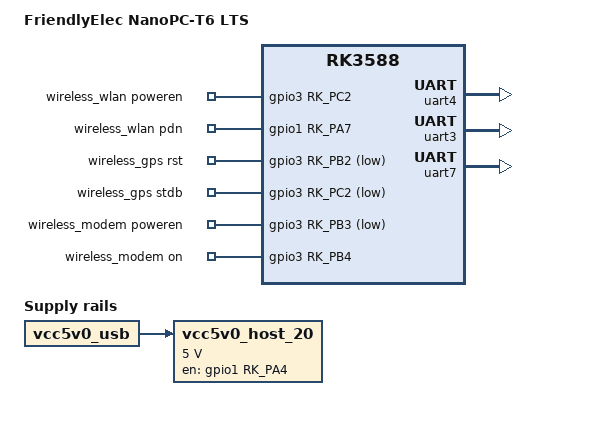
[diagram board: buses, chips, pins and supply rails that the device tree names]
// SPDX-License-Identifier: (GPL-2.0+ OR MIT)
/*
 * Copyright (c) 2023 FriendlyElec Computer Tech. Co., Ltd.
 * (http://www.friendlyelec.com)
 */

/dts-v1/;
#include "rk3588-nanopi6-rev01.dts"

/ {
	model = "FriendlyElec NanoPC-T6 LTS";
	compatible = "friendlyelec,nanopc-t6", "rockchip,rk3588";

	vcc5v0_host_20: vcc5v0-host-20 {
		compatible = "regulator-fixed";
		enable-active-high;
		gpio = <&gpio1 RK_PA4 GPIO_ACTIVE_HIGH>;
		pinctrl-names = "default";
		pinctrl-0 = <&vcc5v0_host20_en>;
		regulator-name = "vcc5v0_host_20";
		regulator-min-microvolt = <5000000>;
		regulator-max-microvolt = <5000000>;
		vin-supply = <&vcc5v0_usb>;
	};

	/* modified for gateway */
	wireless_wlan: wireless-wlan {
		compatible = "wlan-platdata";
		wifi_chip_type = "rtl8812a";

		WIFI,poweren_gpio = <&gpio3 RK_PC2 GPIO_ACTIVE_HIGH>;
		WIFI,pdn_gpio = <&gpio1 RK_PA7 GPIO_ACTIVE_HIGH>;

		status = "okay";
	};

	wireless_gps: wireless-gps {
		compatible = "gps-platdata";

		GPS,rst_gpio = <&gpio3 RK_PB2 GPIO_ACTIVE_LOW>;
		GPS,stdb_gpio = <&gpio3 RK_PC2 GPIO_ACTIVE_LOW>;

		status = "okay";
	};

	wireless_modem: wireless-modem {
		compatible = "modem-platdata";

		MODEM,poweren_gpio = <&gpio3 RK_PB3 GPIO_ACTIVE_LOW>;
		MODEM,on_gpio = <&gpio3 RK_PB4 GPIO_ACTIVE_HIGH>;

		status = "okay";
	};
};

&mach {
	hwrev = <7>;
	model = "NanoPC-T6 LTS";
};

&u2phy3_host {
	phy-supply = <&vcc5v0_host_20>;
};

/* modified for gateway */

/* GPS */
&uart4 {
	status = "okay";
};

/* RS485-1 */
&uart3 {
	RE_gpio = <&gpio3 RK_PA1 GPIO_ACTIVE_LOW>;
	DE_gpio = <&gpio3 RK_PA2 GPIO_ACTIVE_HIGH>;

	status = "okay";
};

/* RS485-2 */
&uart7 {
	RE_gpio = <&gpio1 RK_PB0 GPIO_ACTIVE_LOW>;
	DE_gpio = <&gpio1 RK_PA1 GPIO_ACTIVE_HIGH>;

	status = "okay";
};

&gpio_leds {
	sat_led: led-1 {
		gpios = <&gpio3 RK_PB0 GPIO_ACTIVE_HIGH>;
		label = "sat_led";
		pinctrl-names = "default";
		pinctrl-0 = <&sat_led_pin>;
	};

	wlan_led: led-2 {
		gpios = <&gpio3 RK_PA0 GPIO_ACTIVE_HIGH>;
		label = "wlan_led";
		pinctrl-names = "default";
		pinctrl-0 = <&lan1_led_pin>;
	};

	w5g_led: led-3 {
		gpios = <&gpio0 RK_PC5 GPIO_ACTIVE_HIGH>;
		label = "w5g_led";
		pinctrl-names = "default";
		pinctrl-0 = <&w5g_led_pin>;
	};

	usr1_led: led-4 {
		gpios = <&gpio1 RK_PB1 GPIO_ACTIVE_HIGH>;
		label = "usr1_led";
		pinctrl-names = "default";
		pinctrl-0 = <&usr1_led_pin>;
	};

	usr2_led: led-5 {
		gpios = <&gpio1 RK_PA0 GPIO_ACTIVE_HIGH>;
		label = "usr2_led";
		pinctrl-names = "default";
		pinctrl-0 = <&usr2_led_pin>;
	};

	usr3_led: led-6 {
		gpios = <&gpio3 RK_PB7 GPIO_ACTIVE_HIGH>;
		label = "usr3_led";
		pinctrl-names = "default";
		pinctrl-0 = <&usr3_led_pin>;
	};
};

&pinctrl {
	ext-gpio-leds {
		sat_led_pin: sat-led-pin {
			rockchip,pins =
				<3 RK_PB0 RK_FUNC_GPIO &pcfg_pull_none>;
		};

		lan1_led_pin: lan1-led-pin {
			rockchip,pins =
				<3 RK_PA0 RK_FUNC_GPIO &pcfg_pull_none>;
		};

		w5g_led_pin: w5g-led-pin {
			rockchip,pins =
				<0 RK_PC5 RK_FUNC_GPIO &pcfg_pull_none>;
		};

		/* backup not used */
		usr1_led_pin: usr1-led-pin {
			rockchip,pins =
				<1 RK_PB1 RK_FUNC_GPIO &pcfg_pull_none>;
		};

		usr2_led_pin: usr2-led-pin {
			rockchip,pins =
				<1 RK_PA0 RK_FUNC_GPIO &pcfg_pull_none>;
		};

		usr3_led_pin: usr3-led-pin {
			rockchip,pins =
				<3 RK_PB7 RK_FUNC_GPIO &pcfg_pull_none>;
		};
	};
};
